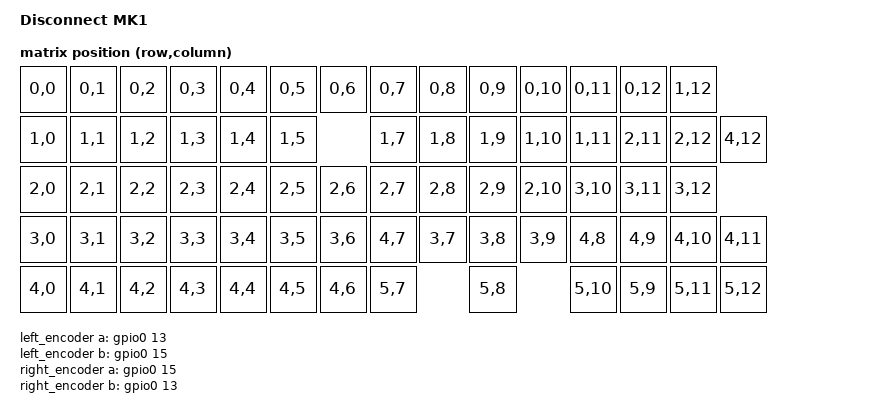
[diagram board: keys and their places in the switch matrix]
/*
 * Copyright (c) 2020 The ZMK Contributors
 *
 * SPDX-License-Identifier: MIT
 */

/dts-v1/;
#include <nordic/nrf52833_qiaa.dtsi>
#include <dt-bindings/zmk/matrix_transform.h>

/ {
	model = "Disconnect MK1";
	compatible = "hidergo,dcmk1";

	chosen {
		zephyr,code-partition = &code_partition;
		zephyr,storage-partition = &storage_partition;
		zephyr,sram = &sram0;
		zephyr,flash = &flash0;
		zephyr,console = &cdc_acm_uart0;
		zmk,matrix_transform = &default_transform;
		zmk,kscan = &kscan0;
		zmk,battery = &vbatt;
	};

	aliases {
		indicatorled = &indled;
	};

	default_transform: keymap_transform_0 {
		compatible = "zmk,matrix-transform";
		columns = <13>;
		rows = <5>;
		map = <
		RC(0,0)    RC(0,1)        RC(0,2)    RC(0,3)   RC(0,4) RC(0,5) RC(0,6)                  RC(0,7) RC(0,8) RC(0,9)    RC(0,10)      RC(0,11)    RC(0,12)     RC(1,12)
		RC(1,0)    RC(1,1)        RC(1,2)    RC(1,3)   RC(1,4) RC(1,5)                          RC(1,7) RC(1,8) RC(1,9)    RC(1,10)      RC(1,11)    RC(2,11)     RC(2,12)     RC(4,12)
		RC(2,0)    RC(2,1)        RC(2,2)    RC(2,3)   RC(2,4) RC(2,5) RC(2,6)                  RC(2,7) RC(2,8) RC(2,9)    RC(2,10)      RC(3,10)    RC(3,11)     RC(3,12)
		RC(3,0)    RC(3,1)        RC(3,2)    RC(3,3)   RC(3,4) RC(3,5) RC(3,6)         		    RC(4,7) RC(3,7) RC(3,8)    RC(3,9)       RC(4,8)     RC(4,9)      RC(4,10)     RC(4,11)
		RC(4,0)    RC(4,1)        RC(4,2)    RC(4,3)   RC(4,4) RC(4,5) RC(4,6)                  RC(5,7) 		RC(5,8)    				 RC(5,10)    RC(5,9)      RC(5,11)     RC(5,12)
		>;
	};

	vbatt: vbatt {
		compatible = "zmk,battery-voltage-divider";
		label = "BATTERY";
		io-channels = <&adc 1>;
		output-ohms = <2000000>;
		full-ohms = <(2000000 + 806000)>;
	};

	leds {
		compatible = "gpio-leds";
		indled: led_0 {
			label = "INDICATOR_LED";
			gpios = <&gpio0 11 GPIO_ACTIVE_HIGH>;
		};
	};

	left_encoder: encoder_left {
        compatible = "alps,ec11";
        label = "LEFT_ENCODER";
        a-gpios = <&gpio0 13 (GPIO_ACTIVE_HIGH | GPIO_PULL_UP)>;
        b-gpios = <&gpio0 15 (GPIO_ACTIVE_HIGH | GPIO_PULL_UP)>;
        resolution = <4>;
    };

	right_encoder: encoder_right {
        compatible = "alps,ec11";
        label = "RIGHT_ENCODER";
        a-gpios = <&gpio0 15 (GPIO_ACTIVE_HIGH | GPIO_PULL_UP)>;
        b-gpios = <&gpio0 13 (GPIO_ACTIVE_HIGH | GPIO_PULL_UP)>;
        resolution = <4>;
    };

	sensors {
        compatible = "zmk,keymap-sensors";
		sensors = <&left_encoder &right_encoder>;    
	};
};

&adc {
	status = "okay";
};

&gpio0 {
	status = "okay";
};

&gpio1 {
	status = "okay";
};

&gpiote {
	status = "okay";
};

&usbd {
	status = "okay";

	cdc_acm_uart0: cdc_acm_uart0 {
		compatible = "zephyr,cdc-acm-uart";
		label = "CDC_ACM_0";
	};


};


&flash0 {
	/*
	 * For more information, see:
	 * http: //docs.zephyrproject.org/latest/devices/dts/flash_partitions.html
	 */
	partitions {
		compatible = "fixed-partitions";
		#address-cells = <1>;
		#size-cells = <1>;

		mbr_partition: partition@0 {
			label = "mbr";
			reg = <0x0000000 0x00001000>;
		};
		/* 
		sd_partition: partition@1000 {
			label = "softdevice";
			reg = <0x0001000 0x00025000>;
		};*/
		code_partition: partition@1000 {
            label = "code_partition";
            reg = <0x0001000 0x0006B000>;
        };

        storage_partition: partition@6C000 {
            label = "storage";
            reg = <0x0006C000 0x00008000>;
        };

		boot_partition: partition@74000 {
			label = "adafruit_boot";
			reg = <0x74000 0x0000A000>;
		};
	};
};

&left_encoder {
    status = "disabled";
};

&right_encoder {
    status = "disabled";
};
